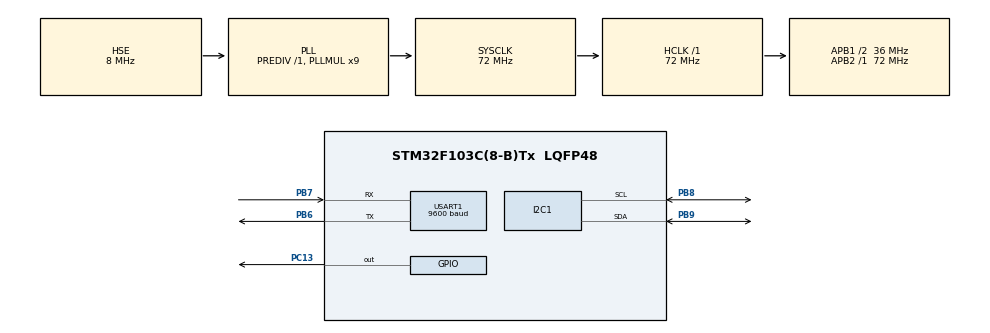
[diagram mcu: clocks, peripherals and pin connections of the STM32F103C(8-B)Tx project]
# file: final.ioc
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Mcu.Family=STM32F1
Mcu.Name=STM32F103C(8-B)Tx
Mcu.Package=LQFP48
NVIC.PriorityGroup=NVIC_PRIORITYGROUP_4
NVIC.USART1_IRQn=true\:0\:0\:false\:false\:true\:true\:true\:true
PA13.Mode=Serial_Wire
PA13.Signal=SYS_JTMS-SWDIO
PA14.Mode=Serial_Wire
PA14.Signal=SYS_JTCK-SWCLK
PB6.Mode=Asynchronous
PB6.Signal=USART1_TX
PB7.Mode=Asynchronous
PB7.Signal=USART1_RX
PB8.Mode=I2C
PB8.Signal=I2C1_SCL
PB9.Mode=I2C
PB9.Signal=I2C1_SDA
PC13-TAMPER-RTC.Signal=GPIO_Output
PD0-OSC_IN.Mode=HSE-External-Oscillator
PD0-OSC_IN.Signal=RCC_OSC_IN
PD1-OSC_OUT.Mode=HSE-External-Oscillator
PD1-OSC_OUT.Signal=RCC_OSC_OUT
ProjectManager.HeapSize=0x200
ProjectManager.StackSize=0x400
ProjectManager.TargetToolchain=MDK-ARM V5
RCC.AHBFreq_Value=72000000
RCC.APB1CLKDivider=RCC_HCLK_DIV2
RCC.APB1Freq_Value=36000000
RCC.APB1TimFreq_Value=72000000
RCC.APB2Freq_Value=72000000
RCC.APB2TimFreq_Value=72000000
RCC.HCLKFreq_Value=72000000
RCC.PLLMUL=RCC_PLL_MUL9
RCC.PLLSourceVirtual=RCC_PLLSOURCE_HSE
RCC.SYSCLKFreq_VALUE=72000000
RCC.SYSCLKSource=RCC_SYSCLKSOURCE_PLLCLK
RCC.USBFreq_Value=72000000
USART1.BaudRate=9600
USART1.VirtualMode=VM_ASYNC
board=custom

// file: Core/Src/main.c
/* USER CODE BEGIN Header */
/**
  ******************************************************************************
  * @file           : main.c
  * @brief          : Main program body
  ******************************************************************************
  * @attention
  *
  * Copyright (c) 2023 STMicroelectronics.
  * All rights reserved.
  *
  * This software is licensed under terms that can be found in the LICENSE file
  * in the root directory of this software component.
  * If no LICENSE file comes with this software, it is provided AS-IS.
  *
  ******************************************************************************
  */
/* USER CODE END Header */
#include "main.h"

/* USER CODE BEGIN Includes */

#include <stdio.h> // to use printf
#include "NMEA.h"
#include "UartRingbuffer.h"
#include "i2c-lcd.h"
/* USER CODE END Includes */

I2C_HandleTypeDef hi2c1;

extern UART_HandleTypeDef huart1;

void SystemClock_Config(void);
static void MX_GPIO_Init(void);
static void MX_I2C1_Init(void);
static void MX_USART1_UART_Init(void);

/* USER CODE BEGIN 0 */

char GGA[100];
char RMC[100];

GPSSTRUCT gpsData;

int flagGGA = 0, flagRMC = 0;
char lcdBuffer [100];

int VCCTimeout = 5000;

/* USER CODE END 0 */

int main(void)
{

  /* MCU Configuration--------------------------------------------------------*/

  /* Reset of all peripherals, Initializes the Flash interface and the Systick. */
  HAL_Init();

  /* USER CODE BEGIN Init */
HAL_GPIO_TogglePin(GPIOC,GPIO_PIN_13);
HAL_Delay(100);
  /* USER CODE END Init */

  /* Configure the system clock */
  SystemClock_Config();

  /* Initialize all configured peripherals */
  MX_GPIO_Init();
  MX_I2C1_Init();
  MX_USART1_UART_Init();
  /* USER CODE BEGIN 2 */
	lcd_init();
	Ringbuf_init();
	HAL_Delay(300);
  /* USER CODE END 2 */

  /* Infinite loop */
  while (1)
  {
 if (Wait_for("GGA") == 1)
	  {

		  VCCTimeout = 5000;  // Reset the VCC Timeout indicating the GGA is being received

		  Copy_upto("*", GGA);
		  if (decodeGGA(GGA, &gpsData.ggastruct) == 0) flagGGA = 2;  // 2 indicates the data is valid
		  else flagGGA = 1;  // 1 indicates the data is invalid
	  }

	  if (Wait_for("RMC") == 1)
	  {

		  VCCTimeout = 5000;  // Reset the VCC Timeout indicating the RMC is being received

		  Copy_upto("*", RMC);
		  if (decodeRMC(RMC, &gpsData.rmcstruct) == 0) flagRMC = 2;  // 2 indicates the data is valid
		  else flagRMC = 1;  // 1 indicates the data is invalid
	  }

		 if ((flagGGA == 2) | (flagRMC == 2))
	  {
		  lcd_put_cur(0, 0);
		  sprintf (lcdBuffer, "%02d:%02d:%02d, %02d%02d%02d", gpsData.ggastruct.tim.hour, \
				  gpsData.ggastruct.tim.min, gpsData.ggastruct.tim.sec, gpsData.rmcstruct.date.Day, \
				  gpsData.rmcstruct.date.Mon, gpsData.rmcstruct.date.Yr);
		  lcd_send_string(lcdBuffer);
		  memset(lcdBuffer, '\0', 50);
		  lcd_put_cur(1, 0);
		  sprintf (lcdBuffer, "%.2f%c, %.2f%c  ", gpsData.ggastruct.lcation.latitude, gpsData.ggastruct.lcation.NS,\
				  gpsData.ggastruct.lcation.longitude, gpsData.ggastruct.lcation.EW);
		  lcd_send_string(lcdBuffer);
	  }

	  else if ((flagGGA == 1) | (flagRMC == 1))
	  {
		  // Instead of clearing the display, it's better if we print spaces.
		  // This will avoid the "refreshing" part
			lcd_put_cur(0, 2);
		  lcd_send_string("Scanning GPS");
			lcd_put_cur(1, 0);
		  lcd_send_string("  Please wait  ");
			HAL_Delay(100);
			lcd_put_cur(1, 0);
		  lcd_send_string("  Please wait.  ");
			HAL_Delay(100);
			lcd_put_cur(1, 0);
		  lcd_send_string("  Please wait..  ");
			HAL_Delay(100);
			lcd_put_cur(1, 0);
		  lcd_send_string("  Please wait...  ");
			HAL_Delay(100);
			lcd_put_cur(1, 0);
		  lcd_send_string("  Please wait ..  ");
			HAL_Delay(100);
			lcd_put_cur(1, 0);
		  lcd_send_string("  Please wait  .  ");
			HAL_Delay(100);
	  }

	  if (VCCTimeout <= 0)
	  {
		  VCCTimeout = 5000;  // Reset the timeout

		  //reset flags
		  flagGGA =flagRMC =0;

		  // You are here means the VCC is less, or maybe there is some connection issue
		  // Check the VCC, also you can try connecting to the external 5V

		  lcd_put_cur(0, 0);
		  lcd_send_string("   VCC Issue!   ");
		  lcd_put_cur(1, 0);
		  lcd_send_string("Check Connection");
	  }
  }
}

void SystemClock_Config(void)
{
  RCC_OscInitTypeDef RCC_OscInitStruct = {0};
  RCC_ClkInitTypeDef RCC_ClkInitStruct = {0};

  /** Initializes the RCC Oscillators according to the specified parameters
  * in the RCC_OscInitTypeDef structure.
  */
  RCC_OscInitStruct.OscillatorType = RCC_OSCILLATORTYPE_HSE;
  RCC_OscInitStruct.HSEState = RCC_HSE_ON;
  RCC_OscInitStruct.HSEPredivValue = RCC_HSE_PREDIV_DIV1;
  RCC_OscInitStruct.HSIState = RCC_HSI_ON;
  RCC_OscInitStruct.PLL.PLLState = RCC_PLL_ON;
  RCC_OscInitStruct.PLL.PLLSource = RCC_PLLSOURCE_HSE;
  RCC_OscInitStruct.PLL.PLLMUL = RCC_PLL_MUL9;
  if (HAL_RCC_OscConfig(&RCC_OscInitStruct) != HAL_OK)
  {
    Error_Handler();
  }

  /** Initializes the CPU, AHB and APB buses clocks
  */
  RCC_ClkInitStruct.ClockType = RCC_CLOCKTYPE_HCLK|RCC_CLOCKTYPE_SYSCLK
                              |RCC_CLOCKTYPE_PCLK1|RCC_CLOCKTYPE_PCLK2;
  RCC_ClkInitStruct.SYSCLKSource = RCC_SYSCLKSOURCE_PLLCLK;
  RCC_ClkInitStruct.AHBCLKDivider = RCC_SYSCLK_DIV1;
  RCC_ClkInitStruct.APB1CLKDivider = RCC_HCLK_DIV2;
  RCC_ClkInitStruct.APB2CLKDivider = RCC_HCLK_DIV1;

  if (HAL_RCC_ClockConfig(&RCC_ClkInitStruct, FLASH_LATENCY_2) != HAL_OK)
  {
    Error_Handler();
  }
}

static void MX_I2C1_Init(void)
{

  hi2c1.Instance = I2C1;
  hi2c1.Init.ClockSpeed = 100000;
  hi2c1.Init.DutyCycle = I2C_DUTYCYCLE_2;
  hi2c1.Init.OwnAddress1 = 0;
  hi2c1.Init.AddressingMode = I2C_ADDRESSINGMODE_7BIT;
  hi2c1.Init.DualAddressMode = I2C_DUALADDRESS_DISABLE;
  hi2c1.Init.OwnAddress2 = 0;
  hi2c1.Init.GeneralCallMode = I2C_GENERALCALL_DISABLE;
  hi2c1.Init.NoStretchMode = I2C_NOSTRETCH_DISABLE;
  if (HAL_I2C_Init(&hi2c1) != HAL_OK)
  {
    Error_Handler();
  }

}

static void MX_USART1_UART_Init(void)
{

  huart1.Instance = USART1;
  huart1.Init.BaudRate = 9600;
  huart1.Init.WordLength = UART_WORDLENGTH_8B;
  huart1.Init.StopBits = UART_STOPBITS_1;
  huart1.Init.Parity = UART_PARITY_NONE;
  huart1.Init.Mode = UART_MODE_TX_RX;
  huart1.Init.HwFlowCtl = UART_HWCONTROL_NONE;
  huart1.Init.OverSampling = UART_OVERSAMPLING_16;
  if (HAL_UART_Init(&huart1) != HAL_OK)
  {
    Error_Handler();
  }

}

static void MX_GPIO_Init(void)
{
  GPIO_InitTypeDef GPIO_InitStruct = {0};

  /* GPIO Ports Clock Enable */
  __HAL_RCC_GPIOC_CLK_ENABLE();
  __HAL_RCC_GPIOD_CLK_ENABLE();
  __HAL_RCC_GPIOA_CLK_ENABLE();
  __HAL_RCC_GPIOB_CLK_ENABLE();

  /*Configure GPIO pin Output Level */
  HAL_GPIO_WritePin(GPIOC, GPIO_PIN_13, GPIO_PIN_RESET);

  /*Configure GPIO pin : PC13 */
  GPIO_InitStruct.Pin = GPIO_PIN_13;
  GPIO_InitStruct.Mode = GPIO_MODE_OUTPUT_PP;
  GPIO_InitStruct.Pull = GPIO_NOPULL;
  GPIO_InitStruct.Speed = GPIO_SPEED_FREQ_LOW;
  HAL_GPIO_Init(GPIOC, &GPIO_InitStruct);

}

void Error_Handler(void)
{
  __disable_irq();
  while (1)
  {
  }
}
